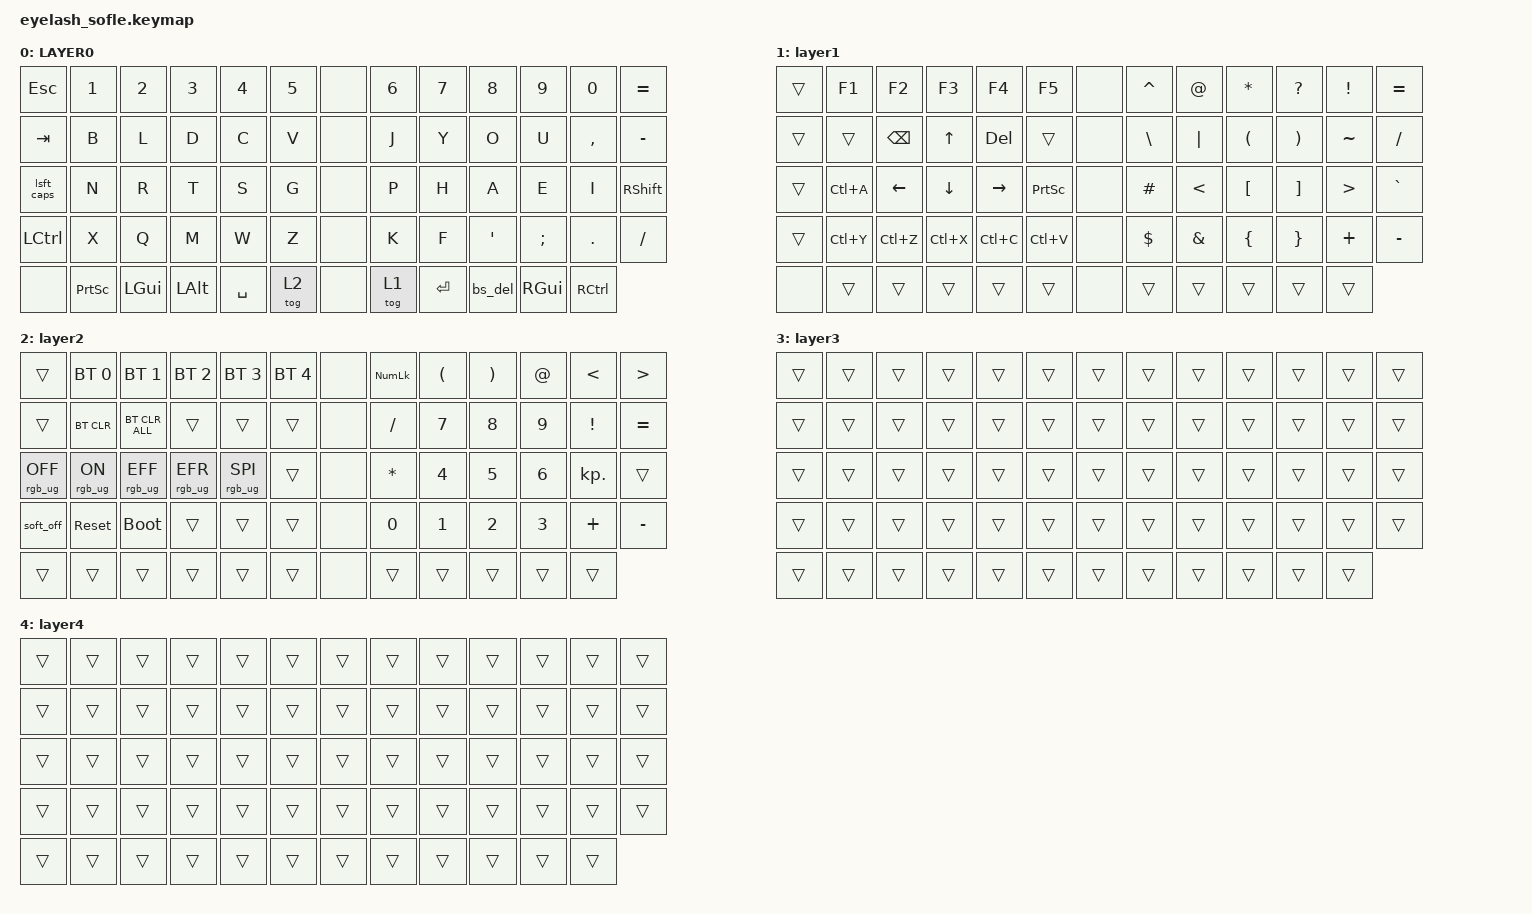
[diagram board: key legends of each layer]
#define ZMK_POINTING_DEFAULT_MOVE_VAL 1200  // 600
#define ZMK_POINTING_DEFAULT_SCRL_VAL 25   // 10

#include <input/processors.dtsi>
#include <zephyr/dt-bindings/input/input-event-codes.h>
#include <behaviors.dtsi>
#include <dt-bindings/zmk/bt.h>
#include <dt-bindings/zmk/keys.h>
#include <dt-bindings/zmk/modifiers.h>
#include <dt-bindings/zmk/outputs.h>
#include <dt-bindings/zmk/pointing.h>
#include <dt-bindings/zmk/rgb.h>

&mmv_input_listener { input-processors = <&zip_xy_scaler 2 1>; };

&msc_input_listener { input-processors = <&zip_scroll_scaler 2 1>; };

&msc {
    acceleration-exponent = <1>;      // 0
    time-to-max-speed-ms = <100>;       // 300
    delay-ms = <0>;                   // 0
};

&mmv {
    time-to-max-speed-ms = <500>;
    acceleration-exponent = <1>;
    trigger-period-ms = <16>;
};

&soft_off { hold-time-ms = <2000>; };

&mt {
    flavor = "balanced";
    tapping-term-ms = <200>;
    quick-tap-ms = <150>;
    hold-trigger-on-release;
};

/ {
    behaviors {
            lsft_caps: tap_dance {
            compatible = "zmk,behavior-tap-dance";
            #binding-cells = <0>;
            tapping-term-ms = <200>;
            bindings = <&kp LSHFT>, <&kp CAPS>;
        };
		
            bs_del: mod_morph {
            compatible = "zmk,behavior-mod-morph";
            #binding-cells = <0>;
            mods = <(MOD_LSFT|MOD_RSFT)>;
            bindings = <&kp BSPC>, <&kp DEL>;
        };
    };

    combos {
        compatible = "zmk,combos";

        softoff {
            bindings = <&soft_off>;
            key-positions = <14 28 40>;
        };
    };

    keymap {
        compatible = "zmk,keymap";

        layer0 {
            bindings = <
&kp ESC     &kp N1		&kp N2		&kp N3		&kp N4      &kp N5	&none	&kp N6     &kp N7		&kp N8		&kp N9		&kp N0      &kp EQUAL
&kp TAB     &kp B		&kp L		&kp D		&kp C       &kp V	&none	&kp J      &kp Y		&kp O		&kp U		&kp COMMA   &kp MINUS
&lsft_caps  &kp N	    &kp R	    &kp T	    &kp S	    &kp G	&none	&kp P      &kp H	    &kp A	    &kp E	    &kp I	    &kp RSHFT
&kp LCTRL   &kp X		&kp Q		&kp M		&kp W  	    &kp Z	&none	&kp K      &kp F		&kp APOS	&kp SEMI	&kp DOT		&kp FSLH
&none		&kp PSCRN	&kp LGUI	&kp LALT	&kp SPACE   &tog 2	&none	&tog 1	   &kp ENTER	&bs_del		&kp RGUI	&kp RCTRL
            >;

            display-name = "LAYER0";
        };

        layer_1 {
            bindings = <
&trans		&kp F1		&kp F2		&kp F3		&kp F4		&kp F5		&none	&kp CARET	&kp AT			&kp STAR    &kp QMARK	&kp EXCL	&kp EQUAL
&trans      &trans		&kp BSPC	&kp UP		&kp DELETE	&trans		&none	&kp BSLH	&kp PIPE		&kp LPAR  	&kp RPAR	&kp TILDE	&kp FSLH
&trans      &kp LC(A)	&kp LEFT	&kp DOWN	&kp RIGHT	&kp PSCRN	&none	&kp HASH	&kp LT			&kp LBKT    &kp RBKT	&kp GT		&kp GRAVE
&trans      &kp LC(Y)	&kp LC(Z)	&kp LC(X)	&kp LC(C)	&kp LC(V)	&none	&kp DLLR	&kp AMPS		&kp LBRC    &kp RBRC	&kp PLUS	&kp MINUS
&none		&trans		&trans		&trans		&trans 		&trans		&none	&trans		&trans			&trans      &trans		&trans
            >;

            display-name = "layer1";
        };

        layer_2 {
            bindings = <
&trans			&bt BT_SEL 0	&bt BT_SEL 1	&bt BT_SEL 2	&bt BT_SEL 3	&bt BT_SEL 4	&none	&kp KP_NUM	&kp LPAR	&kp RPAR    &kp AT      &kp LT		&kp GT
&trans			&bt BT_CLR		&bt BT_CLR_ALL	&trans			&trans			&trans			&none	&kp FSLH  	&kp N7  	&kp N8		&kp N9		&kp EXCL	&kp EQUAL
&rgb_ug RGB_OFF	&rgb_ug RGB_ON	&rgb_ug RGB_EFF	&rgb_ug RGB_EFR	&rgb_ug RGB_SPI	&trans			&none	&kp STAR  	&kp N4  	&kp N5		&kp N6		&kp KP_DOT	&trans
&soft_off		&sys_reset		&bootloader		&trans			&trans			&trans			&none	&kp N0		&kp N1		&kp N2		&kp N3		&kp PLUS	&kp MINUS
&trans			&trans			&trans			&trans			&trans			&trans			&none	&trans		&trans		&trans		&trans		&trans
            >;

            display-name = "layer2";
        };

        layer_3 {
            bindings = <
&trans  &trans  &trans  &trans  &trans  &trans    &trans  &trans  &trans  &trans  &trans  &trans  &trans
&trans  &trans  &trans  &trans  &trans  &trans    &trans  &trans  &trans  &trans  &trans  &trans  &trans
&trans  &trans  &trans  &trans  &trans  &trans    &trans  &trans  &trans  &trans  &trans  &trans  &trans
&trans  &trans  &trans  &trans  &trans  &trans    &trans  &trans  &trans  &trans  &trans  &trans  &trans
&trans  &trans  &trans  &trans  &trans  &trans    &trans  &trans  &trans  &trans  &trans  &trans
            >;

            display-name = "layer3";
        };

        layer_4 {
            bindings = <
&trans  &trans  &trans  &trans  &trans  &trans    &trans  &trans  &trans  &trans  &trans  &trans  &trans
&trans  &trans  &trans  &trans  &trans  &trans    &trans  &trans  &trans  &trans  &trans  &trans  &trans
&trans  &trans  &trans  &trans  &trans  &trans    &trans  &trans  &trans  &trans  &trans  &trans  &trans
&trans  &trans  &trans  &trans  &trans  &trans    &trans  &trans  &trans  &trans  &trans  &trans  &trans
&trans  &trans  &trans  &trans  &trans  &trans    &trans  &trans  &trans  &trans  &trans  &trans
            >;
         display-name = "layer4";
        };
    };
};
